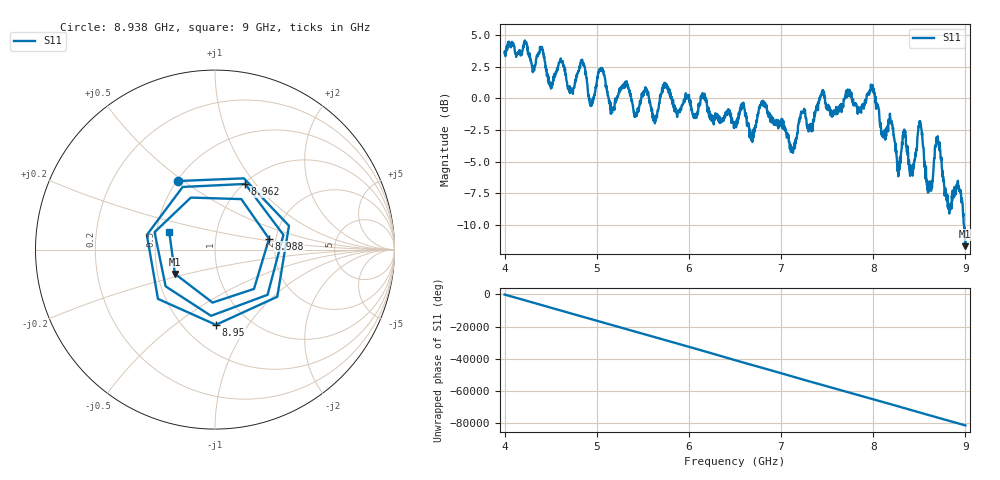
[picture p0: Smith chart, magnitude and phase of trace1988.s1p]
! Created with skrf 1.8.0 (http://scikit-rf.org).
# Hz S RI R 50.0
!freq ReS11 ImS11
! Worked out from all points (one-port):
!   1601 points, 4 GHz to 9 GHz, reference 50 ohm
!   lowest |S11| = -11.7 dB at 8.997 GHz (marker M1), VSWR 1.71, Z = 30.8 - j8.92 ohm
!   |S11| at or under -10 dB: 8.9844 GHz to end of sweep
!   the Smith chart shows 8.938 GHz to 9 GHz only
!   S11 on the Smith chart (normalised r, x): 8.938 GHz: 0.51, +0.48; 8.95 GHz: 0.71, -0.72; 8.962 GHz: 1.02, +0.89; 8.988 GHz: 1.84, +0.25; 9 GHz: 0.58, +0.12
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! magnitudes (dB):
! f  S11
! 4 GHz  3.6
! 4.625 GHz  2.8
! 4.719 GHz  0.6
! 4.847 GHz  2.9
! 4.934 GHz  -0.6
! 5.041 GHz  2.4
! 5.159 GHz  -0.7
! 5.25 GHz  0.7
! 5.875 GHz  -1.3
! 6.5 GHz  -2.0
! 6.812 GHz  -0.4
! 7.125 GHz  -4.3
! 7.234 GHz  -1.1
! 7.75 GHz  0.3
! 7.994 GHz  1.1
! 8.272 GHz  -6.2
! 8.375 GHz  -4.5
! 8.422 GHz  -5.5
! 8.506 GHz  -2.1
! 8.603 GHz  -7.0
! 8.697 GHz  -3.3
! 8.819 GHz  -8.7
! 8.938 GHz  -7.2
! 8.95 GHz  -7.6
! 8.962 GHz  -7.9
! 8.988 GHz  -10.3
! 8.997 GHz  -11.7
! 9 GHz  -11.3
